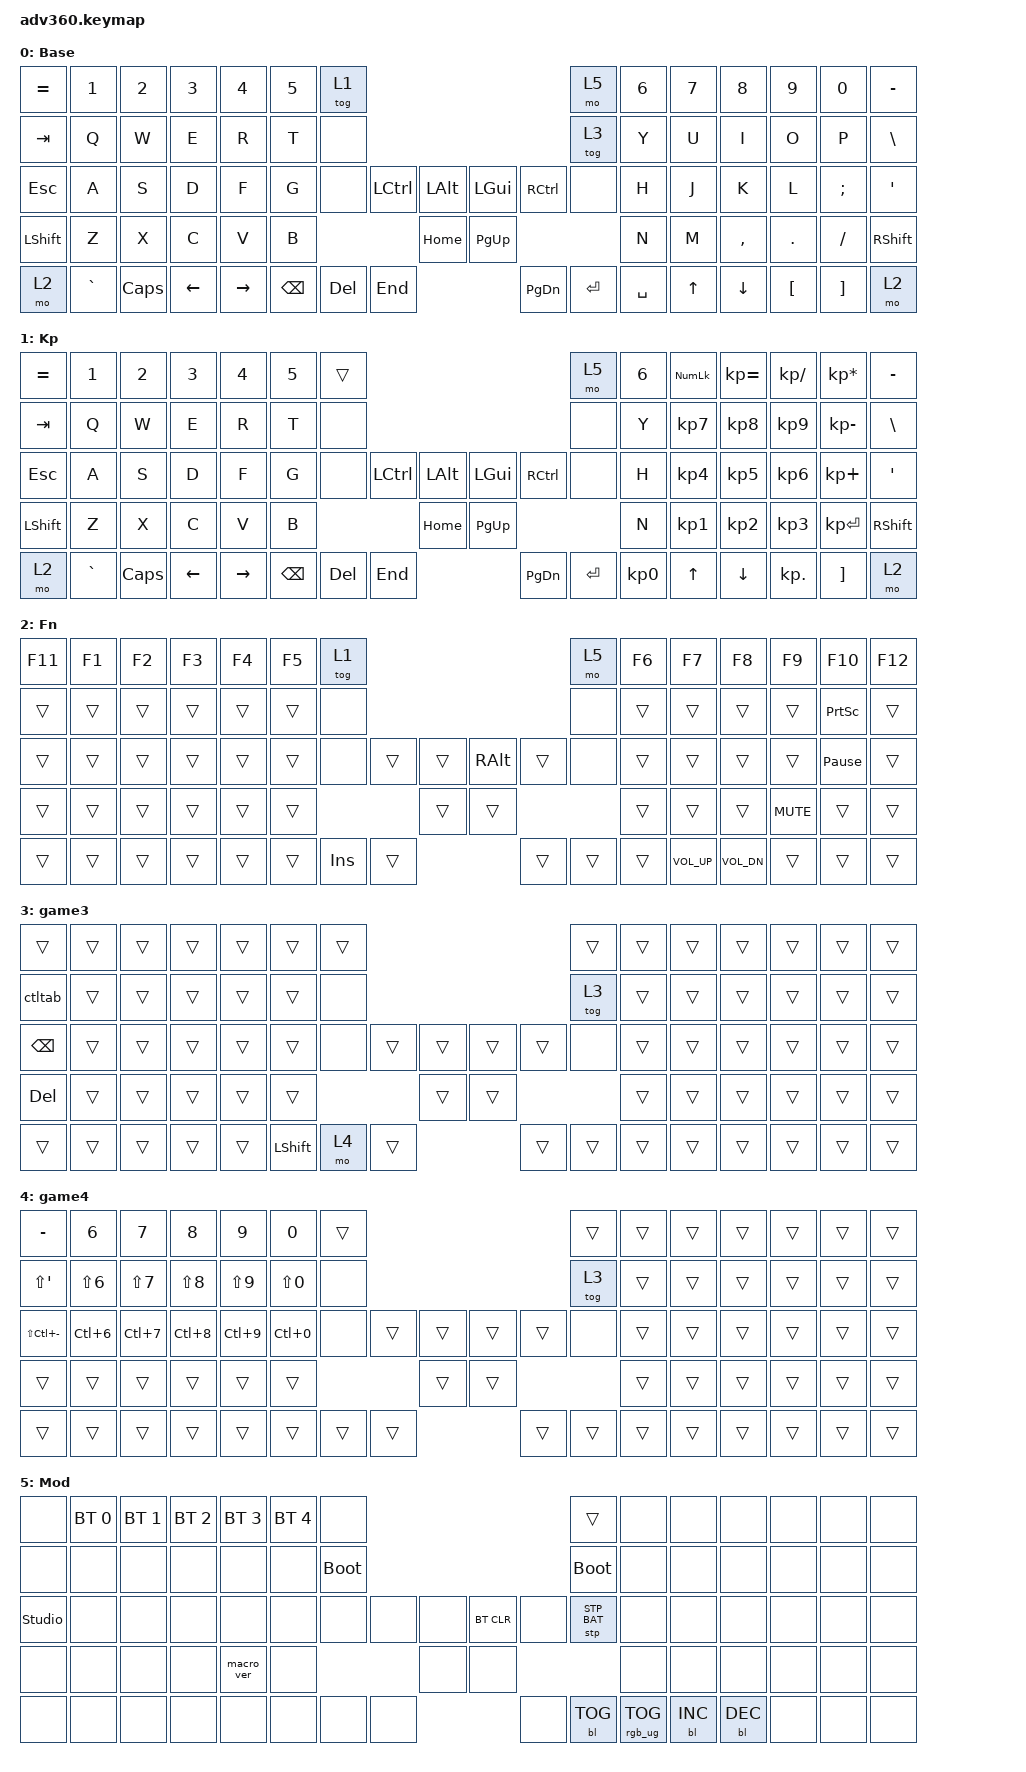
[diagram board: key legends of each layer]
#include <behaviors.dtsi>
#include <dt-bindings/zmk/keys.h>
#include <dt-bindings/zmk/bt.h>
#include <dt-bindings/zmk/rgb.h>
#include <dt-bindings/zmk/stp.h>
#include <dt-bindings/zmk/backlight.h>
#include <dt-bindings/zmk/pointing.h>

#define ROW0 0
#define ROW1 14
#define ROW2 28
#define LCTRLPOS 35
#define TABPOS 14

/ {
    behaviors {
      #include "macros.dtsi"
      #include "version.dtsi"

        hm: homerow_mods {
            compatible = "zmk,behavior-hold-tap";
            label = "HOMEROW_MODS";
			#binding-cells = <2>;
			tapping-term-ms = <200>;
			quick_tap_ms = <175>;
			flavor = "tap-preferred";
			bindings = <&kp>, <&kp>;
		};
		ctltab: control_tab {
		    compatible = "zmk,behavior-mod-morph";
			label = "CONTROL_TAB";
			#binding-cells = <0>;
			bindings = <&kp TAB>, <&kp SQT>;
			mods = <(MOD_LCTL)>;
		};
    };
    combos {
        compatible = "zmk,combos";
	    combo_esc {
	        timeout-ms = <50>;
		    key-positions = <0 1>;
		    bindings = <&kp ESC>;
	    };
    };


  keymap {
    compatible = "zmk,keymap";

    default_layer {
      display-name = "Base";
      bindings = <
        &kp EQUAL &kp N1    &kp N2   &kp N3   &kp N4     &kp N5 &tog 1                                                           &mo 5 &kp N6 &kp N7 &kp N8    &kp N9   &kp N0   &kp MINUS
        &kp TAB   &kp Q     &kp W    &kp E    &kp R      &kp T  &none                                                            &tog 3 &kp Y  &kp U  &kp I    &kp O    &kp P    &kp BSLH
        &kp ESC   &kp A     &kp S    &kp D    &kp F      &kp G  &none           &kp LCTRL &kp LALT &kp LGUI  &kp RCTRL           &none  &kp H  &kp J  &kp K     &kp L    &kp SEMI &kp SQT
        &kp LSHFT &kp Z     &kp X    &kp C    &kp V      &kp B                            &kp HOME &kp PG_UP                            &kp N  &kp M  &kp COMMA &kp DOT  &kp FSLH &kp RSHFT
        &mo 2     &kp GRAVE &kp CAPS &kp LEFT &kp RIGHT                &kp BSPC &kp DEL   &kp END  &kp PG_DN &kp ENTER &kp SPACE               &kp UP &kp DOWN  &kp LBKT &kp RBKT &mo 2
      >;
    };
	keypad {
      display-name = "Kp";
      bindings = <
        &kp EQUAL &kp N1    &kp N2   &kp N3   &kp N4     &kp N5 &trans                                                           &mo 5 &kp N6 &kp KP_NUM &kp KP_EQUAL &kp KP_DIVIDE &kp KP_MULTIPLY &kp MINUS
        &kp TAB   &kp Q     &kp W    &kp E    &kp R      &kp T  &none                                                            &none &kp Y  &kp KP_N7  &kp KP_N8    &kp KP_N9     &kp KP_MINUS    &kp BSLH
        &kp ESC   &kp A     &kp S    &kp D    &kp F      &kp G  &none           &kp LCTRL &kp LALT &kp LGUI  &kp RCTRL           &none &kp H  &kp KP_N4  &kp KP_N5    &kp KP_N6     &kp KP_PLUS     &kp SQT
        &kp LSHFT &kp Z     &kp X    &kp C    &kp V      &kp B                            &kp HOME &kp PG_UP                           &kp N  &kp KP_N1  &kp KP_N2    &kp KP_N3     &kp KP_ENTER    &kp RSHFT
        &mo 2     &kp GRAVE &kp CAPS &kp LEFT &kp RIGHT                &kp BSPC &kp DEL   &kp END  &kp PG_DN &kp ENTER &kp KP_N0              &kp UP     &kp DOWN     &kp KP_DOT    &kp RBKT        &mo 2
      >;
    };
	fn {
      display-name = "Fn";
      bindings = <
        &kp F11 &kp F1 &kp F2 &kp F3 &kp F4 &kp F5 &tog 1                                             &mo 5 &kp F6 &kp F7       &kp F8       &kp F9     &kp F10            &kp F12
        &trans &trans &trans &trans &trans &trans  &none                                              &none &trans &trans       &trans       &trans     &kp PSCRN          &trans
        &trans &trans &trans &trans &trans &trans  &none        &trans  &trans   &kp RALT &trans      &none &trans &trans       &trans       &trans     &kp PAUSE_BREAK    &trans
        &trans &trans &trans &trans &trans &trans                       &trans   &trans                     &trans &trans       &trans       &kp C_MUTE &trans             &trans
        &trans &trans &trans &trans &trans               &trans &kp INS &trans   &trans &trans &trans              &kp C_VOL_UP &kp C_VOL_DN &trans     &trans             &trans
      >;
    };
	game3 {
      bindings = <
        &trans   &trans &trans &trans &trans &trans  &trans                                            &trans &trans &trans &trans &trans &trans &trans
        &ctltab  &trans &trans &trans &trans &trans  &none                                             &tog 3 &trans &trans &trans &trans &trans &trans
        &kp BSPC &trans &trans &trans &trans &trans  &none          &trans &trans &trans &trans        &none  &trans &trans &trans &trans &trans &trans
        &kp DEL &trans &trans &trans &trans &trans                         &trans &trans                      &trans &trans &trans &trans &trans &trans
        &trans &trans &trans &trans &trans                &kp LSHFT &mo 4  &trans &trans &trans &trans               &trans &trans &trans &trans &trans
      >;
	};
	game4 {
      bindings = <
        &kp MINUS         &kp N6     &kp N7     &kp N8     &kp N9     &kp N0      &trans                                              &trans &trans &trans &trans &trans &trans &trans
        &kp LS(SQT)       &kp LS(N6) &kp LS(N7) &kp LS(N8) &kp LS(N9) &kp LS(N0)  &none                                               &tog 3 &trans &trans &trans &trans &trans &trans
        &kp LS(LC(MINUS)) &kp LC(N6) &kp LC(N7) &kp LC(N8) &kp LC(N9) &kp LC(N0)  &none        &trans &trans &trans &trans            &none  &trans &trans &trans &trans &trans &trans
        &trans            &trans     &trans     &trans     &trans     &trans                          &trans &trans                          &trans &trans &trans &trans &trans &trans
        &trans            &trans     &trans     &trans     &trans                       &trans &trans &trans &trans &trans &trans                   &trans &trans &trans &trans &trans
      >;
	};
	mod {
      display-name = "Mod";
      bindings = <
        &none          &bt BT_SEL 0 &bt BT_SEL 1 &bt BT_SEL 2 &bt BT_SEL 3 &bt BT_SEL 4 &none                                                                     &trans                 &none        &none        &none        &none &none &none
        &none          &none        &none        &none        &none        &none        &bootloader                                                               &bootloader            &none        &none        &none        &none &none &none
        &studio_unlock &none        &none        &none        &none        &none        &none                   &none &none &bt BT_CLR &none                      &stp STP_BAT           &none        &none        &none        &none &none &none
        &none          &none        &none        &none        &macro_ver   &none                                      &none &none                                                        &none        &none        &none        &none &none &none
        &none          &none        &none        &none        &none                                       &none &none &none &none      &bl BL_TOG &rgb_ug RGB_TOG                                     &bl BL_INC   &bl BL_DEC   &none &none &none
      >;
    };
    
	extra1 { 
      display-name = "Red";    
      status = "reserved";
    };

    extra2 { 
      display-name = "Purple";    
      status = "reserved";
    };

    extra3 { 
      display-name = "Cyan";    
      status = "reserved";
    };

    extra4 { 
      display-name = "Yellow";    
      status = "reserved";
    };
  };
};
